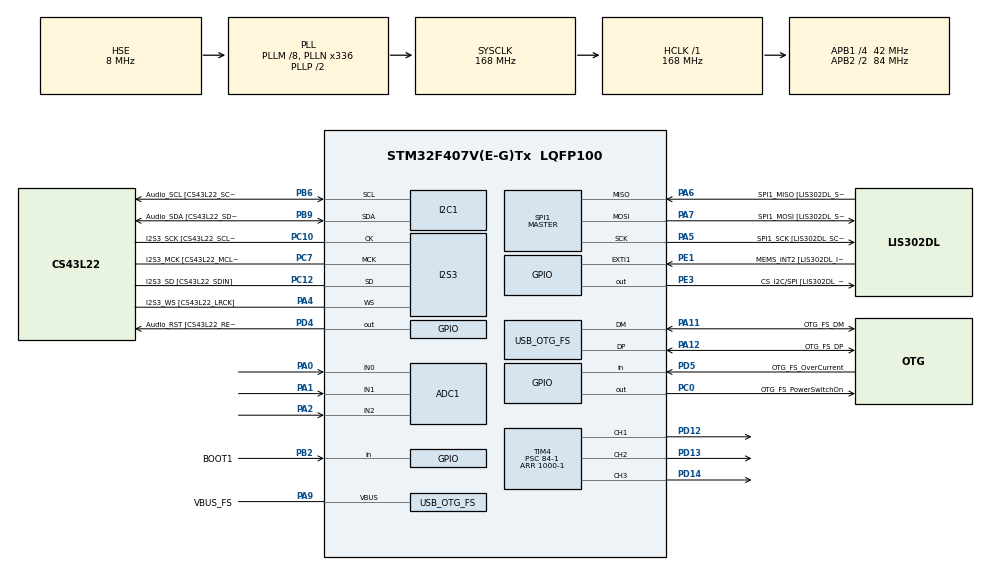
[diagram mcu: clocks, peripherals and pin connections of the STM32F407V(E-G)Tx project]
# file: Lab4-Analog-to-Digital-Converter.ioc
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ADC1.Channel-0\#ChannelRegularConversion=ADC_CHANNEL_1
ADC1.NbrOfConversionFlag=1
ADC1.Rank-0\#ChannelRegularConversion=1
ADC1.SamplingTime-0\#ChannelRegularConversion=ADC_SAMPLETIME_3CYCLES
ADC1.master=1
I2S3.AudioFreq-Half_Duplex_Master=I2S_AUDIOFREQ_96K
I2S3.ErrorAudioFreq=-2.34 %
I2S3.ErrorAudioFreq-Half_Duplex_Master=0.8 %
I2S3.FullDuplexMode=I2S_FULLDUPLEXMODE_DISABLE
I2S3.Instance=SPI$Index
I2S3.RealAudioFreq=93.75 KHz
I2S3.RealAudioFreq-Half_Duplex_Master=96.774 KHz
I2S3.VirtualMode=I2S_MODE_MASTER
Mcu.Family=STM32F4
Mcu.Name=STM32F407V(E-G)Tx
Mcu.Package=LQFP100
NVIC.OTG_FS_IRQn=true\:0\:0\:false\:false\:true\:true\:true\:true
NVIC.PriorityGroup=NVIC_PRIORITYGROUP_0
PA0-WKUP.Signal=ADCx_IN0
PA1.Signal=ADCx_IN1
PA10.GPIO_Label=OTG_FS_ID
PA10.GPIO_Mode=GPIO_MODE_AF_PP
PA10.GPIO_PuPd=GPIO_NOPULL
PA10.GPIO_Speed=GPIO_SPEED_FREQ_LOW
PA10.Signal=USB_OTG_FS_ID
PA11.GPIO_Label=OTG_FS_DM
PA11.GPIO_Mode=GPIO_MODE_AF_PP
PA11.GPIO_PuPd=GPIO_NOPULL
PA11.GPIO_Speed=GPIO_SPEED_FREQ_LOW
PA11.Mode=Host_Only
PA11.Signal=USB_OTG_FS_DM
PA12.GPIO_Label=OTG_FS_DP
PA12.GPIO_Mode=GPIO_MODE_AF_PP
PA12.GPIO_PuPd=GPIO_NOPULL
PA12.GPIO_Speed=GPIO_SPEED_FREQ_LOW
PA12.Mode=Host_Only
PA12.Signal=USB_OTG_FS_DP
PA13.GPIO_Label=SWDIO
PA13.Mode=Serial_Wire
PA13.Signal=SYS_JTMS-SWDIO
PA14.GPIO_Label=SWCLK
PA14.Mode=Serial_Wire
PA14.Signal=SYS_JTCK-SWCLK
PA2.Signal=ADCx_IN2
PA4.GPIO_Label=I2S3_WS [CS43L22_LRCK]
PA4.GPIO_Mode=GPIO_MODE_AF_PP
PA4.GPIO_PuPd=GPIO_NOPULL
PA4.GPIO_Speed=GPIO_SPEED_FREQ_LOW
PA4.Mode=Half_Duplex_Master
PA4.Signal=I2S3_WS
PA5.GPIO_Label=SPI1_SCK [LIS302DL_SCL/SPC]
PA5.GPIO_Mode=GPIO_MODE_AF_PP
PA5.GPIO_PuPd=GPIO_NOPULL
PA5.GPIO_Speed=GPIO_SPEED_FREQ_LOW
PA5.Mode=Full_Duplex_Master
PA5.Signal=SPI1_SCK
PA6.GPIO_Label=SPI1_MISO [LIS302DL_SDO]
PA6.GPIO_Mode=GPIO_MODE_AF_PP
PA6.GPIO_PuPd=GPIO_NOPULL
PA6.GPIO_Speed=GPIO_SPEED_FREQ_LOW
PA6.Mode=Full_Duplex_Master
PA6.Signal=SPI1_MISO
PA7.GPIO_Label=SPI1_MOSI [LIS302DL_SDA/SDI/SDO]
PA7.GPIO_Mode=GPIO_MODE_AF_PP
PA7.GPIO_PuPd=GPIO_NOPULL
PA7.GPIO_Speed=GPIO_SPEED_FREQ_LOW
PA7.Mode=Full_Duplex_Master
PA7.Signal=SPI1_MOSI
PA9.GPIO_Label=VBUS_FS
PA9.GPIO_Mode=GPIO_MODE_INPUT
PA9.GPIO_PuPd=GPIO_NOPULL
PA9.Mode=Activate_VBUS
PA9.Signal=USB_OTG_FS_VBUS
PB10.GPIO_Label=CLK_IN [MP45DT02_CLK]
PB10.GPIO_Mode=GPIO_MODE_AF_PP
PB10.GPIO_PuPd=GPIO_NOPULL
PB10.GPIO_Speed=GPIO_SPEED_FREQ_LOW
PB10.Signal=I2S2_CK
PB2.GPIO_Label=BOOT1
PB2.GPIO_Mode=GPIO_MODE_INPUT
PB2.GPIO_PuPd=GPIO_NOPULL
PB2.Signal=GPIO_Input
PB3.GPIO_Label=SWO
PB3.Signal=SYS_JTDO-SWO
PB6.GPIO_Label=Audio_SCL [CS43L22_SCL]
PB6.GPIO_Mode=GPIO_MODE_AF_OD
PB6.GPIO_Pu=GPIO_PULLUP
PB6.GPIO_PuPd=GPIO_NOPULL
PB6.GPIO_Speed=GPIO_SPEED_FREQ_LOW
PB6.Mode=I2C
PB6.Signal=I2C1_SCL
PB9.GPIO_Label=Audio_SDA [CS43L22_SDA]
PB9.GPIO_Mode=GPIO_MODE_AF_OD
PB9.GPIO_Pu=GPIO_PULLUP
PB9.GPIO_PuPd=GPIO_NOPULL
PB9.GPIO_Speed=GPIO_SPEED_FREQ_LOW
PB9.Mode=I2C
PB9.Signal=I2C1_SDA
PC0.GPIO_Label=OTG_FS_PowerSwitchOn
PC0.GPIO_PuPd=GPIO_NOPULL
PC0.GPIO_Speed=GPIO_SPEED_FREQ_LOW
PC0.PinState=GPIO_PIN_SET
PC0.Signal=GPIO_Output
PC10.GPIO_Label=I2S3_SCK [CS43L22_SCLK]
PC10.GPIO_Mode=GPIO_MODE_AF_PP
PC10.GPIO_PuPd=GPIO_NOPULL
PC10.GPIO_Speed=GPIO_SPEED_FREQ_LOW
PC10.Mode=Half_Duplex_Master
PC10.Signal=I2S3_CK
PC12.GPIO_Label=I2S3_SD [CS43L22_SDIN]
PC12.GPIO_Mode=GPIO_MODE_AF_PP
PC12.GPIO_PuPd=GPIO_NOPULL
PC12.GPIO_Speed=GPIO_SPEED_FREQ_LOW
PC12.Mode=Half_Duplex_Master
PC12.Signal=I2S3_SD
PC14-OSC32_IN.GPIO_Label=PC14-OSC32_IN
PC14-OSC32_IN.Mode=LSE-External-Oscillator
PC14-OSC32_IN.Signal=RCC_OSC32_IN
PC15-OSC32_OUT.GPIO_Label=PC15-OSC32_OUT
PC15-OSC32_OUT.Mode=LSE-External-Oscillator
PC15-OSC32_OUT.Signal=RCC_OSC32_OUT
PC3.GPIO_Label=PDM_OUT [MP45DT02_DOUT]
PC3.GPIO_Mode=GPIO_MODE_AF_PP
PC3.GPIO_PuPd=GPIO_NOPULL
PC3.GPIO_Speed=GPIO_SPEED_FREQ_LOW
PC3.Signal=I2S2_SD
PC7.GPIO_Label=I2S3_MCK [CS43L22_MCLK]
PC7.GPIO_Mode=GPIO_MODE_AF_PP
PC7.GPIO_PuPd=GPIO_NOPULL
PC7.GPIO_Speed=GPIO_SPEED_FREQ_LOW
PC7.Mode=Master_Clock_Activated
PC7.Signal=I2S3_MCK
PD12.Signal=S_TIM4_CH1
PD13.Signal=S_TIM4_CH2
PD14.Signal=S_TIM4_CH3
PD4.GPIO_Label=Audio_RST [CS43L22_RESET]
PD4.GPIO_PuPd=GPIO_NOPULL
PD4.GPIO_Speed=GPIO_SPEED_FREQ_LOW
PD4.Signal=GPIO_Output
PD5.GPIO_Label=OTG_FS_OverCurrent
PD5.GPIO_Mode=GPIO_MODE_INPUT
PD5.GPIO_PuPd=GPIO_NOPULL
PD5.Signal=GPIO_Input
PE1.GPIO_Label=MEMS_INT2 [LIS302DL_INT2]
PE1.GPIO_ModeDefaultEXTI=GPIO_MODE_EVT_RISING
PE1.GPIO_PuPd=GPIO_NOPULL
PE1.Signal=GPXTI1
PE3.GPIO_Label=CS_I2C/SPI [LIS302DL_CS_I2C/SPI]
PE3.GPIO_PuPd=GPIO_NOPULL
PE3.GPIO_Speed=GPIO_SPEED_FREQ_LOW
PE3.Signal=GPIO_Output
PH0-OSC_IN.GPIO_Label=PH0-OSC_IN
PH0-OSC_IN.Mode=HSE-External-Oscillator
PH0-OSC_IN.Signal=RCC_OSC_IN
PH1-OSC_OUT.GPIO_Label=PH1-OSC_OUT
PH1-OSC_OUT.Mode=HSE-External-Oscillator
PH1-OSC_OUT.Signal=RCC_OSC_OUT
ProjectManager.HeapSize=0x200
ProjectManager.StackSize=0x400
ProjectManager.TargetToolchain=STM32CubeIDE
RCC.48MHZClocksFreq_Value=48000000
RCC.AHBFreq_Value=168000000
RCC.APB1CLKDivider=RCC_HCLK_DIV4
RCC.APB1Freq_Value=42000000
RCC.APB1TimFreq_Value=84000000
RCC.APB2CLKDivider=RCC_HCLK_DIV2
RCC.APB2Freq_Value=84000000
RCC.APB2TimFreq_Value=168000000
RCC.CortexFreq_Value=168000000
RCC.HCLKFreq_Value=168000000
RCC.HSE_VALUE=8000000
RCC.HSI_VALUE=16000000
RCC.PLLM=8
RCC.PLLN=336
RCC.PLLQ=7
RCC.SYSCLKFreq_VALUE=168000000
RCC.SYSCLKSource=RCC_SYSCLKSOURCE_PLLCLK
RCC.VCOOutputFreq_Value=336000000
SH.ADCx_IN0.0=ADC1_IN0,IN0
SH.ADCx_IN1.0=ADC1_IN1,IN1
SH.ADCx_IN2.0=ADC1_IN2,IN2
SH.S_TIM4_CH1.0=TIM4_CH1,PWM Generation1 CH1
SH.S_TIM4_CH2.0=TIM4_CH2,PWM Generation2 CH2
SH.S_TIM4_CH3.0=TIM4_CH3,PWM Generation3 CH3
SPI1.BaudRatePrescaler-Full_Duplex_Master=SPI_BAUDRATEPRESCALER_2
SPI1.CalculateBaudRate-Full_Duplex_Master=42.0 MBits/s
SPI1.Direction=SPI_DIRECTION_2LINES
SPI1.Mode=SPI_MODE_MASTER
SPI1.Mode-Full_Duplex_Master=SPI_MODE_MASTER
SPI1.VirtualType=VM_MASTER
TIM4.Channel-PWM\ Generation1\ CH1=TIM_CHANNEL_1
TIM4.Channel-PWM\ Generation2\ CH2=TIM_CHANNEL_2
TIM4.Channel-PWM\ Generation3\ CH3=TIM_CHANNEL_3
TIM4.Period=1000-1
TIM4.Prescaler=84-1
USB_HOST.BSP.number=1
USB_HOST.USBH_HandleTypeDef-CDC_FS=hUsbHostFS
USB_HOST.VirtualModeFS=Cdc
USB_HOST0.BSP.STBoard=false
USB_HOST0.BSP.api=Unknown
USB_HOST0.BSP.instance=PC0
USB_HOST0.BSP.ip=GPIO
USB_HOST0.BSP.mode=Output
USB_HOST0.BSP.name=Drive_VBUS_FS
USB_HOST0.BSP.solution=PC0
USB_OTG_FS.VirtualMode=Host_Only
USB_OTG_FS.phy_itface=HCD_PHY_EMBEDDED
VP_TIM4_VS_ClockSourceINT.Mode=Internal
VP_USB_HOST_VS_USB_HOST_CDC_FS.Mode=CDC_FS
board=STM32F407G-DISC1

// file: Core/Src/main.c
/* USER CODE BEGIN Header */
/**
  ******************************************************************************
  * @file           : main.c
  * @brief          : Main program body
  ******************************************************************************
  * @attention
  *
  * Copyright (c) 2025 STMicroelectronics.
  * All rights reserved.
  *
  * This software is licensed under terms that can be found in the LICENSE file
  * in the root directory of this software component.
  * If no LICENSE file comes with this software, it is provided AS-IS.
  *
  ******************************************************************************
  */
/* USER CODE END Header */
#include "main.h"
#include "usb_host.h"

ADC_HandleTypeDef hadc1;

I2C_HandleTypeDef hi2c1;

I2S_HandleTypeDef hi2s3;

SPI_HandleTypeDef hspi1;

TIM_HandleTypeDef htim4;

/* USER CODE BEGIN PV */
uint32_t adcValues[3];
/* USER CODE END PV */

void SystemClock_Config(void);
static void MX_GPIO_Init(void);
static void MX_I2C1_Init(void);
static void MX_I2S3_Init(void);
static void MX_SPI1_Init(void);
static void MX_ADC1_Init(void);
static void MX_TIM4_Init(void);
void MX_USB_HOST_Process(void);

int main(void)
{

  /* MCU Configuration--------------------------------------------------------*/

  /* Reset of all peripherals, Initializes the Flash interface and the Systick. */
  HAL_Init();

  /* Configure the system clock */
  SystemClock_Config();

  /* Initialize all configured peripherals */
  MX_GPIO_Init();
  MX_I2C1_Init();
  MX_I2S3_Init();
  MX_SPI1_Init();
  MX_USB_HOST_Init();
  MX_ADC1_Init();
  MX_TIM4_Init();
  /* USER CODE BEGIN 2 */
  HAL_TIM_PWM_Start(&htim4, TIM_CHANNEL_1);
  HAL_TIM_PWM_Start(&htim4, TIM_CHANNEL_2);
  HAL_TIM_PWM_Start(&htim4, TIM_CHANNEL_3);
  /* USER CODE END 2 */

  /* Infinite loop */
  /* USER CODE BEGIN WHILE */
  while (1)
  {
	for (int i = 0; i < 3; i++)
	{
	  ADC_ChannelConfTypeDef sConfig = {0};
	  sConfig.Channel = ADC_CHANNEL_0 + i;
	  sConfig.Rank = 1;
	  sConfig.SamplingTime = ADC_SAMPLETIME_3CYCLES;
	  HAL_ADC_ConfigChannel(&hadc1, &sConfig);

	  HAL_ADC_Start(&hadc1);
	  HAL_ADC_PollForConversion(&hadc1, HAL_MAX_DELAY);
	  adcValues[i] = HAL_ADC_GetValue(&hadc1);
	}

	__HAL_TIM_SET_COMPARE(&htim4, TIM_CHANNEL_1, adcValues[0] / 4);
	__HAL_TIM_SET_COMPARE(&htim4, TIM_CHANNEL_2, adcValues[1] / 4);
	__HAL_TIM_SET_COMPARE(&htim4, TIM_CHANNEL_3, adcValues[2] / 4);
    /* USER CODE END WHILE */
    MX_USB_HOST_Process();

  }
}

void SystemClock_Config(void)
{
  RCC_OscInitTypeDef RCC_OscInitStruct = {0};
  RCC_ClkInitTypeDef RCC_ClkInitStruct = {0};

  /** Configure the main internal regulator output voltage
  */
  __HAL_RCC_PWR_CLK_ENABLE();
  __HAL_PWR_VOLTAGESCALING_CONFIG(PWR_REGULATOR_VOLTAGE_SCALE1);

  /** Initializes the RCC Oscillators according to the specified parameters
  * in the RCC_OscInitTypeDef structure.
  */
  RCC_OscInitStruct.OscillatorType = RCC_OSCILLATORTYPE_HSE;
  RCC_OscInitStruct.HSEState = RCC_HSE_ON;
  RCC_OscInitStruct.PLL.PLLState = RCC_PLL_ON;
  RCC_OscInitStruct.PLL.PLLSource = RCC_PLLSOURCE_HSE;
  RCC_OscInitStruct.PLL.PLLM = 8;
  RCC_OscInitStruct.PLL.PLLN = 336;
  RCC_OscInitStruct.PLL.PLLP = RCC_PLLP_DIV2;
  RCC_OscInitStruct.PLL.PLLQ = 7;
  if (HAL_RCC_OscConfig(&RCC_OscInitStruct) != HAL_OK)
  {
    Error_Handler();
  }

  /** Initializes the CPU, AHB and APB buses clocks
  */
  RCC_ClkInitStruct.ClockType = RCC_CLOCKTYPE_HCLK|RCC_CLOCKTYPE_SYSCLK
                              |RCC_CLOCKTYPE_PCLK1|RCC_CLOCKTYPE_PCLK2;
  RCC_ClkInitStruct.SYSCLKSource = RCC_SYSCLKSOURCE_PLLCLK;
  RCC_ClkInitStruct.AHBCLKDivider = RCC_SYSCLK_DIV1;
  RCC_ClkInitStruct.APB1CLKDivider = RCC_HCLK_DIV4;
  RCC_ClkInitStruct.APB2CLKDivider = RCC_HCLK_DIV2;

  if (HAL_RCC_ClockConfig(&RCC_ClkInitStruct, FLASH_LATENCY_5) != HAL_OK)
  {
    Error_Handler();
  }
}

static void MX_ADC1_Init(void)
{

  ADC_ChannelConfTypeDef sConfig = {0};

  /** Configure the global features of the ADC (Clock, Resolution, Data Alignment and number of conversion)
  */
  hadc1.Instance = ADC1;
  hadc1.Init.ClockPrescaler = ADC_CLOCK_SYNC_PCLK_DIV4;
  hadc1.Init.Resolution = ADC_RESOLUTION_12B;
  hadc1.Init.ScanConvMode = DISABLE;
  hadc1.Init.ContinuousConvMode = DISABLE;
  hadc1.Init.DiscontinuousConvMode = DISABLE;
  hadc1.Init.ExternalTrigConvEdge = ADC_EXTERNALTRIGCONVEDGE_NONE;
  hadc1.Init.ExternalTrigConv = ADC_SOFTWARE_START;
  hadc1.Init.DataAlign = ADC_DATAALIGN_RIGHT;
  hadc1.Init.NbrOfConversion = 1;
  hadc1.Init.DMAContinuousRequests = DISABLE;
  hadc1.Init.EOCSelection = ADC_EOC_SINGLE_CONV;
  if (HAL_ADC_Init(&hadc1) != HAL_OK)
  {
    Error_Handler();
  }

  /** Configure for the selected ADC regular channel its corresponding rank in the sequencer and its sample time.
  */
  sConfig.Channel = ADC_CHANNEL_1;
  sConfig.Rank = 1;
  sConfig.SamplingTime = ADC_SAMPLETIME_3CYCLES;
  if (HAL_ADC_ConfigChannel(&hadc1, &sConfig) != HAL_OK)
  {
    Error_Handler();
  }

}

static void MX_I2C1_Init(void)
{

  hi2c1.Instance = I2C1;
  hi2c1.Init.ClockSpeed = 100000;
  hi2c1.Init.DutyCycle = I2C_DUTYCYCLE_2;
  hi2c1.Init.OwnAddress1 = 0;
  hi2c1.Init.AddressingMode = I2C_ADDRESSINGMODE_7BIT;
  hi2c1.Init.DualAddressMode = I2C_DUALADDRESS_DISABLE;
  hi2c1.Init.OwnAddress2 = 0;
  hi2c1.Init.GeneralCallMode = I2C_GENERALCALL_DISABLE;
  hi2c1.Init.NoStretchMode = I2C_NOSTRETCH_DISABLE;
  if (HAL_I2C_Init(&hi2c1) != HAL_OK)
  {
    Error_Handler();
  }

}

static void MX_I2S3_Init(void)
{

  hi2s3.Instance = SPI3;
  hi2s3.Init.Mode = I2S_MODE_MASTER_TX;
  hi2s3.Init.Standard = I2S_STANDARD_PHILIPS;
  hi2s3.Init.DataFormat = I2S_DATAFORMAT_16B;
  hi2s3.Init.MCLKOutput = I2S_MCLKOUTPUT_ENABLE;
  hi2s3.Init.AudioFreq = I2S_AUDIOFREQ_96K;
  hi2s3.Init.CPOL = I2S_CPOL_LOW;
  hi2s3.Init.ClockSource = I2S_CLOCK_PLL;
  hi2s3.Init.FullDuplexMode = I2S_FULLDUPLEXMODE_DISABLE;
  if (HAL_I2S_Init(&hi2s3) != HAL_OK)
  {
    Error_Handler();
  }

}

static void MX_SPI1_Init(void)
{

  /* SPI1 parameter configuration*/
  hspi1.Instance = SPI1;
  hspi1.Init.Mode = SPI_MODE_MASTER;
  hspi1.Init.Direction = SPI_DIRECTION_2LINES;
  hspi1.Init.DataSize = SPI_DATASIZE_8BIT;
  hspi1.Init.CLKPolarity = SPI_POLARITY_LOW;
  hspi1.Init.CLKPhase = SPI_PHASE_1EDGE;
  hspi1.Init.NSS = SPI_NSS_SOFT;
  hspi1.Init.BaudRatePrescaler = SPI_BAUDRATEPRESCALER_2;
  hspi1.Init.FirstBit = SPI_FIRSTBIT_MSB;
  hspi1.Init.TIMode = SPI_TIMODE_DISABLE;
  hspi1.Init.CRCCalculation = SPI_CRCCALCULATION_DISABLE;
  hspi1.Init.CRCPolynomial = 10;
  if (HAL_SPI_Init(&hspi1) != HAL_OK)
  {
    Error_Handler();
  }

}

static void MX_TIM4_Init(void)
{

  TIM_ClockConfigTypeDef sClockSourceConfig = {0};
  TIM_MasterConfigTypeDef sMasterConfig = {0};
  TIM_OC_InitTypeDef sConfigOC = {0};

  htim4.Instance = TIM4;
  htim4.Init.Prescaler = 84-1;
  htim4.Init.CounterMode = TIM_COUNTERMODE_UP;
  htim4.Init.Period = 1000-1;
  htim4.Init.ClockDivision = TIM_CLOCKDIVISION_DIV1;
  htim4.Init.AutoReloadPreload = TIM_AUTORELOAD_PRELOAD_DISABLE;
  if (HAL_TIM_Base_Init(&htim4) != HAL_OK)
  {
    Error_Handler();
  }
  sClockSourceConfig.ClockSource = TIM_CLOCKSOURCE_INTERNAL;
  if (HAL_TIM_ConfigClockSource(&htim4, &sClockSourceConfig) != HAL_OK)
  {
    Error_Handler();
  }
  if (HAL_TIM_PWM_Init(&htim4) != HAL_OK)
  {
    Error_Handler();
  }
  sMasterConfig.MasterOutputTrigger = TIM_TRGO_RESET;
  sMasterConfig.MasterSlaveMode = TIM_MASTERSLAVEMODE_DISABLE;
  if (HAL_TIMEx_MasterConfigSynchronization(&htim4, &sMasterConfig) != HAL_OK)
  {
    Error_Handler();
  }
  sConfigOC.OCMode = TIM_OCMODE_PWM1;
  sConfigOC.Pulse = 0;
  sConfigOC.OCPolarity = TIM_OCPOLARITY_HIGH;
  sConfigOC.OCFastMode = TIM_OCFAST_DISABLE;
  if (HAL_TIM_PWM_ConfigChannel(&htim4, &sConfigOC, TIM_CHANNEL_1) != HAL_OK)
  {
    Error_Handler();
  }
  if (HAL_TIM_PWM_ConfigChannel(&htim4, &sConfigOC, TIM_CHANNEL_2) != HAL_OK)
  {
    Error_Handler();
  }
  if (HAL_TIM_PWM_ConfigChannel(&htim4, &sConfigOC, TIM_CHANNEL_3) != HAL_OK)
  {
    Error_Handler();
  }
  HAL_TIM_MspPostInit(&htim4);

}

static void MX_GPIO_Init(void)
{
  GPIO_InitTypeDef GPIO_InitStruct = {0};

  /* GPIO Ports Clock Enable */
  __HAL_RCC_GPIOE_CLK_ENABLE();
  __HAL_RCC_GPIOC_CLK_ENABLE();
  __HAL_RCC_GPIOH_CLK_ENABLE();
  __HAL_RCC_GPIOA_CLK_ENABLE();
  __HAL_RCC_GPIOB_CLK_ENABLE();
  __HAL_RCC_GPIOD_CLK_ENABLE();

  /*Configure GPIO pin Output Level */
  HAL_GPIO_WritePin(CS_I2C_SPI_GPIO_Port, CS_I2C_SPI_Pin, GPIO_PIN_RESET);

  /*Configure GPIO pin Output Level */
  HAL_GPIO_WritePin(OTG_FS_PowerSwitchOn_GPIO_Port, OTG_FS_PowerSwitchOn_Pin, GPIO_PIN_SET);

  /*Configure GPIO pin Output Level */
  HAL_GPIO_WritePin(Audio_RST_GPIO_Port, Audio_RST_Pin, GPIO_PIN_RESET);

  /*Configure GPIO pin : CS_I2C_SPI_Pin */
  GPIO_InitStruct.Pin = CS_I2C_SPI_Pin;
  GPIO_InitStruct.Mode = GPIO_MODE_OUTPUT_PP;
  GPIO_InitStruct.Pull = GPIO_NOPULL;
  GPIO_InitStruct.Speed = GPIO_SPEED_FREQ_LOW;
  HAL_GPIO_Init(CS_I2C_SPI_GPIO_Port, &GPIO_InitStruct);

  /*Configure GPIO pin : OTG_FS_PowerSwitchOn_Pin */
  GPIO_InitStruct.Pin = OTG_FS_PowerSwitchOn_Pin;
  GPIO_InitStruct.Mode = GPIO_MODE_OUTPUT_PP;
  GPIO_InitStruct.Pull = GPIO_NOPULL;
  GPIO_InitStruct.Speed = GPIO_SPEED_FREQ_LOW;
  HAL_GPIO_Init(OTG_FS_PowerSwitchOn_GPIO_Port, &GPIO_InitStruct);

  /*Configure GPIO pin : PDM_OUT_Pin */
  GPIO_InitStruct.Pin = PDM_OUT_Pin;
  GPIO_InitStruct.Mode = GPIO_MODE_AF_PP;
  GPIO_InitStruct.Pull = GPIO_NOPULL;
  GPIO_InitStruct.Speed = GPIO_SPEED_FREQ_LOW;
  GPIO_InitStruct.Alternate = GPIO_AF5_SPI2;
  HAL_GPIO_Init(PDM_OUT_GPIO_Port, &GPIO_InitStruct);

  /*Configure GPIO pin : BOOT1_Pin */
  GPIO_InitStruct.Pin = BOOT1_Pin;
  GPIO_InitStruct.Mode = GPIO_MODE_INPUT;
  GPIO_InitStruct.Pull = GPIO_NOPULL;
  HAL_GPIO_Init(BOOT1_GPIO_Port, &GPIO_InitStruct);

  /*Configure GPIO pin : CLK_IN_Pin */
  GPIO_InitStruct.Pin = CLK_IN_Pin;
  GPIO_InitStruct.Mode = GPIO_MODE_AF_PP;
  GPIO_InitStruct.Pull = GPIO_NOPULL;
  GPIO_InitStruct.Speed = GPIO_SPEED_FREQ_LOW;
  GPIO_InitStruct.Alternate = GPIO_AF5_SPI2;
  HAL_GPIO_Init(CLK_IN_GPIO_Port, &GPIO_InitStruct);

  /*Configure GPIO pin : Audio_RST_Pin */
  GPIO_InitStruct.Pin = Audio_RST_Pin;
  GPIO_InitStruct.Mode = GPIO_MODE_OUTPUT_PP;
  GPIO_InitStruct.Pull = GPIO_NOPULL;
  GPIO_InitStruct.Speed = GPIO_SPEED_FREQ_LOW;
  HAL_GPIO_Init(Audio_RST_GPIO_Port, &GPIO_InitStruct);

  /*Configure GPIO pin : OTG_FS_OverCurrent_Pin */
  GPIO_InitStruct.Pin = OTG_FS_OverCurrent_Pin;
  GPIO_InitStruct.Mode = GPIO_MODE_INPUT;
  GPIO_InitStruct.Pull = GPIO_NOPULL;
  HAL_GPIO_Init(OTG_FS_OverCurrent_GPIO_Port, &GPIO_InitStruct);

  /*Configure GPIO pin : MEMS_INT2_Pin */
  GPIO_InitStruct.Pin = MEMS_INT2_Pin;
  GPIO_InitStruct.Mode = GPIO_MODE_EVT_RISING;
  GPIO_InitStruct.Pull = GPIO_NOPULL;
  HAL_GPIO_Init(MEMS_INT2_GPIO_Port, &GPIO_InitStruct);

}

void Error_Handler(void)
{
  __disable_irq();
  while (1)
  {
  }
}
